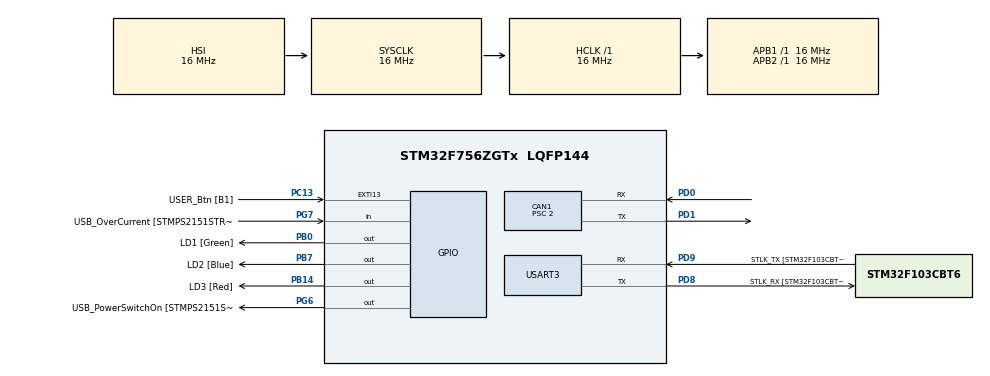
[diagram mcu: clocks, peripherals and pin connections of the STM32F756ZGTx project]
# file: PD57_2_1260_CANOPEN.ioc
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CAN1.BS1=CAN_BS1_6TQ
CAN1.CalculateBaudRate=1000000
CAN1.CalculateTimeBit=1000
CAN1.CalculateTimeQuantum=125.0
CAN1.Prescaler=2
CAN1.SJW=CAN_SJW_1TQ
Mcu.Family=STM32F7
Mcu.Name=STM32F756ZGTx
Mcu.Package=LQFP144
NVIC.EXTI15_10_IRQn=true\:0\:0\:false\:false\:true\:true\:true\:true
NVIC.PriorityGroup=NVIC_PRIORITYGROUP_4
NVIC.USART3_IRQn=true\:0\:0\:false\:false\:true\:true\:true\:true
PA1.GPIO_Label=RMII_REF_CLK [LAN8742A-CZ-TR_REFCLK0]
PA1.Signal=ETH_REF_CLK
PA10.GPIO_Label=USB_ID
PA10.Signal=USB_OTG_FS_ID
PA11.GPIO_Label=USB_DM
PA11.Signal=USB_OTG_FS_DM
PA12.GPIO_Label=USB_DP
PA12.Signal=USB_OTG_FS_DP
PA13.GPIO_Label=TMS
PA13.Mode=Serial_Wire
PA13.Signal=SYS_JTMS-SWDIO
PA14.GPIO_Label=TCK
PA14.Mode=Serial_Wire
PA14.Signal=SYS_JTCK-SWCLK
PA15.Signal=S_TIM2_CH1_ETR
PA2.GPIO_Speed=GPIO_SPEED_FREQ_HIGH
PA2.Signal=USART2_TX
PA7.GPIO_Label=RMII_CRS_DV [LAN8742A-CZ-TR_CRS_DV]
PA7.Signal=ETH_CRS_DV
PA8.GPIO_Label=USB_SOF [TP1]
PA8.Signal=USB_OTG_FS_SOF
PA9.GPIO_Label=USB_VBUS
PA9.Signal=USB_OTG_FS_VBUS
PB0.GPIO_Label=LD1 [Green]
PB0.Signal=GPIO_Output
PB13.GPIO_Label=RMII_TXD1 [LAN8742A-CZ-TR_TXD1]
PB13.Signal=ETH_TXD1
PB14.GPIO_Label=LD3 [Red]
PB14.Signal=GPIO_Output
PB3.GPIO_Label=SW0
PB3.Signal=SYS_JTDO-SWO
PB4.Signal=S_TIM3_CH1
PB7.GPIO_Label=LD2 [Blue]
PB7.Signal=GPIO_Output
PB8.Signal=I2C1_SCL
PB9.Signal=I2C1_SDA
PC1.GPIO_Label=RMII_MDC [LAN8742A-CZ-TR_MDC]
PC1.Signal=ETH_MDC
PC13.GPIO_Label=USER_Btn [B1]
PC13.Signal=GPXTI13
PC14/OSC32_IN.Mode=LSE-External-Oscillator
PC14/OSC32_IN.Signal=RCC_OSC32_IN
PC15/OSC32_OUT.Mode=LSE-External-Oscillator
PC15/OSC32_OUT.Signal=RCC_OSC32_OUT
PC4.GPIO_Label=RMII_RXD0 [LAN8742A-CZ-TR_RXD0]
PC4.Signal=ETH_RXD0
PC5.GPIO_Label=RMII_RXD1 [LAN8742A-CZ-TR_RXD1]
PC5.Signal=ETH_RXD1
PC9.Signal=S_TIM3_CH4
PD0.Mode=CAN_Activate
PD0.Signal=CAN1_RX
PD1.Mode=CAN_Activate
PD1.Signal=CAN1_TX
PD8.GPIO_Label=STLK_RX [STM32F103CBT6_PA3]
PD8.Mode=Asynchronous
PD8.Signal=USART3_TX
PD9.GPIO_Label=STLK_TX [STM32F103CBT6_PA2]
PD9.Mode=Asynchronous
PD9.Signal=USART3_RX
PG11.GPIO_Label=RMII_TX_EN [LAN8742A-CZ-TR_TXEN]
PG11.Signal=ETH_TX_EN
PG13.GPIO_Label=RMII_TXD0 [LAN8742A-CZ-TR_TXD0]
PG13.Signal=ETH_TXD0
PG6.GPIO_Label=USB_PowerSwitchOn [STMPS2151STR_EN]
PG6.Signal=GPIO_Output
PG7.GPIO_Label=USB_OverCurrent [STMPS2151STR_FAULT]
PG7.Signal=GPIO_Input
PH0/OSC_IN.GPIO_Label=MCO [STM32F103CBT6_PA8]
PH0/OSC_IN.Mode=HSE-External-Clock-Source
PH0/OSC_IN.Signal=RCC_OSC_IN
PH1/OSC_OUT.Mode=HSE-External-Clock-Source
PH1/OSC_OUT.Signal=RCC_OSC_OUT
ProjectManager.HeapSize=0x200
ProjectManager.StackSize=0x400
ProjectManager.TargetToolchain=STM32CubeIDE
RCC.48MHZClocksFreq_Value=24000000
RCC.AHBFreq_Value=16000000
RCC.APB1Freq_Value=16000000
RCC.APB1TimFreq_Value=16000000
RCC.APB2Freq_Value=16000000
RCC.APB2TimFreq_Value=16000000
RCC.CortexFreq_Value=16000000
RCC.HCLKFreq_Value=16000000
RCC.HSE_VALUE=8000000
RCC.HSI_VALUE=16000000
RCC.PLLM=4
RCC.PLLMUL=RCC_PLL_MUL9
RCC.PLLN=72
RCC.PLLQ=3
RCC.PLLSourceVirtual=RCC_PLLSOURCE_HSE
RCC.PRESCALERUSB=RCC_USBCLKSOURCE_PLL_DIV1_5
RCC.SYSCLKFreq_VALUE=16000000
RCC.SYSCLKSourceVirtual=RCC_SYSCLKSOURCE_PLLCLK
RCC.USBFreq_Value=48000000
RCC.VCOOutputFreq_Value=144000000
SH.S_TIM2_CH1_ETR.0=TIM2_CH1
SH.S_TIM3_CH1.0=TIM3_CH1
SH.S_TIM3_CH4.0=TIM3_CH4
USART3.VirtualMode-Asynchronous=VM_ASYNC
board=NUCLEO-F756ZG

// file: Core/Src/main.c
/* USER CODE BEGIN Header */
/**
  ******************************************************************************
  * @file           : main.c
  * @brief          : Main program body
  ******************************************************************************
  * @attention
  *
  * Copyright (c) 2025 STMicroelectronics.
  * All rights reserved.
  *
  * This software is licensed under terms that can be found in the LICENSE file
  * in the root directory of this software component.
  * If no LICENSE file comes with this software, it is provided AS-IS.
  *
  ******************************************************************************
  */
/* USER CODE END Header */
#include "main.h"

/* USER CODE BEGIN Includes */

#include <stdio.h>
#include <string.h>
#include <stdlib.h>
#include <stdbool.h>

/* USER CODE END Includes */

/* USER CODE BEGIN PD */

#define CANOPEN_NODE_ID 0x01
#define STEPS_PER_REV 6400  // 200 steps/rev * 64 microsteps // 200 steps * 32 microsteps
#define TARGET_REV 10
#define TARGET_POSITION (TARGET_REV * STEPS_PER_REV)  // 128000 steps
#define N_TARGET_POSITION -1*(TARGET_REV * STEPS_PER_REV)  // 128000 steps

#define OD_CONTROLWORD 0x6040
#define OD_STATUSWORD 0x6041
#define OD_MODE_OPERATION 0x6060
#define OD_TARGET_POSITION 0x607A
#define OD_PROFILE_VELOCITY 0x6081
#define OD_PROFILE_ACCEL 0x6083
#define OD_PROFILE_DECEL 0x6084
#define OD_LIMIT_SWITCHES 0x2005
#define OD_ACTUAL_POSITION 0x6064
#define OD_HOMING_METHOD 0x6098
#define OD_ERROR_REGISTER 0x1001  // Standard CANopen error register

#define COB_ID_NMT 0x000
#define SDO_CLIENT_TX (0x600 + CANOPEN_NODE_ID)
#define SDO_SERVER_RX (0x580 + CANOPEN_NODE_ID)

// 6.2 How to move a Motor in pp Mode

/* USER CODE END PD */

CAN_HandleTypeDef hcan1;

UART_HandleTypeDef huart3;

/* USER CODE BEGIN PV */

uint8_t rx_buffer[32]; // Buffer to store incoming data
uint8_t rx_index = 0;
int user_input = 0;    // Variable to store the parsed integer
volatile uint8_t rx_complete = 0;

uint32_t duty_cycle = 0; // Example: 50% duty cycle
// Since ARR = 99, the CCR value ranges from 0 to 99 to represent 0% to 100% duty cycle.
// Since ARR = 49, the CCR value ranges from 0 to 49 to represent 0% to 100% duty cycle.

uint32_t SPEED = 50000; //  The motor’s datasheet specifies a maximum velocity (e.g., 50000 inc/s for 200 steps/rev with 64 microsteps).

//#define REVOLUTIONS 20 // Change this for fixed revolutions (e.g., 3, 7)
//#define TARGET_POSITION (REVOLUTIONS * STEPS_PER_REV) // Override motor_control.h
// redefine TARGET_POSITION in main.c to override the one in motor_control.h.
// This avoids the initializer element is not constant error since macros are evaluated at compile time.

/* USER CODE END PV */

void SystemClock_Config(void);
static void MX_GPIO_Init(void);
static void MX_USART3_UART_Init(void);
static void MX_CAN1_Init(void);
/* USER CODE BEGIN PFP */

HAL_StatusTypeDef CANopen_SendFrame(CAN_HandleTypeDef *hcan, uint32_t id, uint8_t *data, uint8_t len);
void CANopen_NMT_Start(uint8_t nodeId);
HAL_StatusTypeDef CANopen_SDO_Write8(CAN_HandleTypeDef *hcan, uint16_t index, uint8_t subidx, int8_t value);
HAL_StatusTypeDef CANopen_SDO_Write16(CAN_HandleTypeDef *hcan, uint16_t index, uint8_t subidx, uint16_t value);
HAL_StatusTypeDef CANopen_SDO_Write32(CAN_HandleTypeDef *hcan, uint16_t index, uint8_t subidx, uint32_t value);
uint16_t CANopen_SDO_Read16(CAN_HandleTypeDef *hcan, uint16_t index, uint8_t subidx);
uint32_t CANopen_SDO_Read32(CAN_HandleTypeDef *hcan, uint16_t index, uint8_t subidx);
void Delay_ms(uint32_t ms);
void Debug_Print(const char *msg);

/* USER CODE END PFP */

int main(void)
{

  /* MCU Configuration--------------------------------------------------------*/

  /* Reset of all peripherals, Initializes the Flash interface and the Systick. */
  HAL_Init();

  /* Configure the system clock */
  SystemClock_Config();

  /* Initialize all configured peripherals */
  MX_GPIO_Init();
  MX_USART3_UART_Init();
  MX_CAN1_Init();
  /* USER CODE BEGIN 2 */

  // Start UART receive interrupt
  HAL_UART_Receive_IT(&huart3, rx_buffer, 1);
  // Prompt user for input
  char prompt[] = "Enter an integer: \r\n";

  HAL_UART_Transmit(&huart3, (uint8_t*)prompt, strlen(prompt), HAL_MAX_DELAY);

  // motor control

/*
  // Full reset sequence with retries
  Debug_Print("Performing Full Motor Reset\r\n");
  uint8_t nmt_data[2];
  for (int i = 0; i < 3; i++) { // Retry reset 3 times
    nmt_data[0] = 0x82; nmt_data[1] = CANOPEN_NODE_ID;  // NMT Reset All
    if (CANopen_SendFrame(&hcan1, COB_ID_NMT, nmt_data, 2) != HAL_OK) {
      Debug_Print("NMT Reset Send Failed\r\n");
    }
    Delay_ms(1000);
    nmt_data[0] = 0x80; nmt_data[1] = CANOPEN_NODE_ID;  // NMT Pre-Operational
    if (CANopen_SendFrame(&hcan1, COB_ID_NMT, nmt_data, 2) != HAL_OK) {
      Debug_Print("NMT Pre-Op Send Failed\r\n");
    }
    Delay_ms(1000);
  }
  if (CANopen_SDO_Write16(&hcan1, OD_CONTROLWORD, 0x00, 0x0080) != HAL_OK) {
    Debug_Print("SDO Fault Reset Failed\r\n");
  }
  Delay_ms(1000);
*/

  // Start CAN with error reporting
  Debug_Print("Starting CAN\r\n");
  HAL_StatusTypeDef can_status = HAL_CAN_Start(&hcan1);
  if (can_status != HAL_OK) {
    char buf[48];
    snprintf(buf, sizeof(buf), "CAN Start Failed: Error Code 0x%08lX\r\n", HAL_CAN_GetError(&hcan1));
    Debug_Print(buf);
    Error_Handler();
  }
  Delay_ms(1000);

  Debug_Print("Starting CANopen Motor Control\r\n");

  // CAN filter: Accept all IDs
  CAN_FilterTypeDef sFilterConfig;
  sFilterConfig.FilterBank = 0;
  sFilterConfig.FilterMode = CAN_FILTERMODE_IDMASK;
  sFilterConfig.FilterScale = CAN_FILTERSCALE_32BIT;
  sFilterConfig.FilterIdHigh = 0x0000;
  sFilterConfig.FilterIdLow = 0x0000;
  sFilterConfig.FilterMaskIdHigh = 0x0000;
  sFilterConfig.FilterMaskIdLow = 0x0000;
  sFilterConfig.FilterFIFOAssignment = CAN_RX_FIFO0;
  sFilterConfig.FilterActivation = ENABLE;
  if (HAL_CAN_ConfigFilter(&hcan1, &sFilterConfig) != HAL_OK) {
    Debug_Print("CAN Filter Config Failed\r\n");
    Error_Handler();
  }
  Delay_ms(1000);

      // Start NMT
        Debug_Print("Sending NMT Start\r\n");
        CANopen_NMT_Start(CANOPEN_NODE_ID);
        Delay_ms(1000);

        // Check statusword
        uint16_t status = CANopen_SDO_Read16(&hcan1, OD_STATUSWORD, 0x00);
        char buf[48];
        snprintf(buf, sizeof(buf), "Initial Statusword: 0x%04X\r\n", status);
        Debug_Print(buf);
        if (status == 0xFFFF) {
          Debug_Print("SDO Read Failed: No response\r\n");
          Error_Handler();
        }
        Delay_ms(200);

        // Check and clear fault
/*          if (status & 0x08) {
            uint32_t error_code = CANopen_SDO_Read32(&hcan1, OD_ERROR_CODE, 0x00);
            snprintf(buf, sizeof(buf), "Fault Code: 0x%08lX\r\n", error_code);
            Debug_Print(buf);
            CANopen_SDO_Write16(&hcan1, OD_CONTROLWORD, 0x00, 0x0080);  // Reset Fault
            Delay_ms(200);
            status = CANopen_SDO_Read16(&hcan1, OD_STATUSWORD, 0x00);
            snprintf(buf, sizeof(buf), "Status after reset: 0x%04X\r\n", status);
            Debug_Print(buf);
            if (status & 0x08) {
              Debug_Print("Fault persists\r\n");
              Error_Handler();
            }
          }
*/

          // Reset state machine
            if (CANopen_SDO_Write16(&hcan1, OD_CONTROLWORD, 0x00, 0x0000) != HAL_OK) {  // Disable Voltage
              Debug_Print("Disable Voltage Failed\r\n");
              Error_Handler();
            }
            Delay_ms(200);
            status = CANopen_SDO_Read16(&hcan1, OD_STATUSWORD, 0x00);
            snprintf(buf, sizeof(buf), "Status after Disable: 0x%04X\r\n", status);
            Debug_Print(buf);

/*
            // Check current position
              int32_t current_pos = (int32_t)CANopen_SDO_Read32(&hcan1, OD_ACTUAL_POSITION, 0x00);
              snprintf(buf, sizeof(buf), "Current Position: %ld steps\r\n", current_pos);
              Debug_Print(buf);
              if (current_pos == 0xFFFFFFFF) {
                Debug_Print("Read Position Failed\r\n");
                Error_Handler();
              }
*/

              // Homing: Set method 35 and execute
/*
            Debug_Print("Starting Homing\r\n");
            if (CANopen_SDO_Write8(&hcan1, OD_HOMING_METHOD, 0x00, 35) != HAL_OK) {  // Method 35: Current position = 0
              Debug_Print("Set Homing Method Failed\r\n");
              Error_Handler();
            }

                Delay_ms(50);
                if (CANopen_SDO_Write8(&hcan1, OD_MODE_OPERATION, 0x00, 0x06) != HAL_OK) {  // Homing mode
                  Debug_Print("Set Homing Mode Failed\r\n");
                  Error_Handler();
                }

                Delay_ms(100);
                if (CANopen_SDO_Write16(&hcan1, OD_CONTROLWORD, 0x00, 0x0006) != HAL_OK) {  // Switch On
                  Debug_Print("Homing Switch On Failed\r\n");
                  Error_Handler();
                }
                Delay_ms(100);
                status = CANopen_SDO_Read16(&hcan1, OD_STATUSWORD, 0x00);
                snprintf(buf, sizeof(buf), "Homing Status after Switch On: 0x%04X\r\n", status);
                Debug_Print(buf);

                if (CANopen_SDO_Write16(&hcan1, OD_CONTROLWORD, 0x00, 0x0007) != HAL_OK) {  // Switched On
                  Debug_Print("Homing Switched On Failed\r\n");
                  Error_Handler();
                }
                Delay_ms(100);
                status = CANopen_SDO_Read16(&hcan1, OD_STATUSWORD, 0x00);
                snprintf(buf, sizeof(buf), "Homing Status after Switched On: 0x%04X\r\n", status);
                Debug_Print(buf);

                if (CANopen_SDO_Write16(&hcan1, OD_CONTROLWORD, 0x00, 0x000F) != HAL_OK) {  // Enable Operation
                  Debug_Print("Enable Homing Failed\r\n");
                  Error_Handler();
                }
                Delay_ms(100);
                status = CANopen_SDO_Read16(&hcan1, OD_STATUSWORD, 0x00);
                snprintf(buf, sizeof(buf), "Homing Status after Enable Op: 0x%04X\r\n", status);
                Debug_Print(buf);

                if (CANopen_SDO_Write16(&hcan1, OD_CONTROLWORD, 0x00, 0x001F) != HAL_OK) {  //start homing process
                Debug_Print("Start Homing Failed\r\n");
                Error_Handler();
                }
                Delay_ms(500);

                if (CANopen_SDO_Write16(&hcan1, OD_CONTROLWORD, 0x00, 0x000F) != HAL_OK) {  //finish homing
                  Debug_Print("Start Homing Failed\r\n");
                  Error_Handler();
                }
                Delay_ms(100);
*/

            // microstep resolution 200 full steps x microsteps; microsteps = (2^x) x = 0 .... 8;
            if (CANopen_SDO_Write8(&hcan1, 0x2000, 0x00, 0x05) != HAL_OK) {  // 2^5 = 32 microsteps in 1 full step;
              Debug_Print("Set Velocity Failed\r\n");
              Error_Handler();
            }

                      // Configure velocity and acceleration
                        if (CANopen_SDO_Write32(&hcan1, OD_PROFILE_VELOCITY, 0x00, 100000) != HAL_OK) {  // 5000 inc/s
                          Debug_Print("Set Velocity Failed\r\n");
                          Error_Handler();
                        }
                        if (CANopen_SDO_Write32(&hcan1, OD_PROFILE_ACCEL, 0x00, 1500) != HAL_OK) {
                          Debug_Print("Set Acceleration Failed\r\n");
                          Error_Handler();
                        }
                        if (CANopen_SDO_Write32(&hcan1, OD_PROFILE_DECEL, 0x00, 1500) != HAL_OK) {
                          Debug_Print("Set Deceleration Failed\r\n");
                          Error_Handler();
                        }
                        Delay_ms(50);

                        status = CANopen_SDO_Read16(&hcan1, 0x2707, 0x00);
                        snprintf(buf, sizeof(buf), "CAN bit rate: 0x%04X\r\n", status);
                        Debug_Print(buf);
                        Delay_ms(50);
                        status = CANopen_SDO_Read16(&hcan1, 0x2708, 0x00);
                        snprintf(buf, sizeof(buf), "node ID: 0x%04X\r\n", status);
                        Debug_Print(buf);
                        Delay_ms(50);

                         // CiA 402 state machine

                        // homing start
                        Debug_Print("Starting CiA 402 Transition\r\n");
                        if (CANopen_SDO_Write8(&hcan1, OD_MODE_OPERATION, 0x00, 0x06) != HAL_OK) { // homing mode
                        Debug_Print("Switch On Failed\r\n");
                        Error_Handler();
                        }
                        Delay_ms(100);

                        if (CANopen_SDO_Write16(&hcan1, OD_CONTROLWORD, 0x00, 0x0006) != HAL_OK) {
                          Debug_Print("Switch On Failed\r\n");
                          Error_Handler();
                        }
                        Delay_ms(500);

                        if (CANopen_SDO_Write16(&hcan1, OD_CONTROLWORD, 0x00, 0x0007) != HAL_OK) {
                          Debug_Print("Switch On Failed\r\n");
                          Error_Handler();
                        }
                        Delay_ms(500);

                        if (CANopen_SDO_Write16(&hcan1, OD_CONTROLWORD, 0x00, 0x000F) != HAL_OK) {
                          Debug_Print("Switch On Failed\r\n");
                          Error_Handler();
                        }
                        Delay_ms(500);

                        // homing to zero test
                        Debug_Print("Starting Homing\r\n");
                        if (CANopen_SDO_Write8(&hcan1, OD_HOMING_METHOD, 0x00, 0x23) != HAL_OK) {  // Method 35: Current position = 0
                          Debug_Print("Set Homing Method Failed\r\n");
                          Error_Handler();
                        }
                        Delay_ms(100);

                        if (CANopen_SDO_Write16(&hcan1, OD_CONTROLWORD, 0x00, 0x001F) != HAL_OK) {
                          Debug_Print("Switch On Failed\r\n");
                          Error_Handler();
                        }
                        Delay_ms(500);

                        if (CANopen_SDO_Write16(&hcan1, OD_CONTROLWORD, 0x00, 0x000F) != HAL_OK) {
                          Debug_Print("Switch On Failed\r\n");
                          Error_Handler();
                        }
                        Delay_ms(500);

                          // Verify position
                        int32_t current_pos = (int32_t)CANopen_SDO_Read32(&hcan1, OD_ACTUAL_POSITION, 0x00);
                          snprintf(buf, sizeof(buf), "Position after homing: %ld steps\r\n", current_pos);
                          Debug_Print(buf);
                          if (current_pos == 0xFFFFFFFF) {
                            Debug_Print("Read Position Failed\r\n");
                            Error_Handler();
                          }
                          if (current_pos != 0) {
                            Debug_Print("Homing Failed: Position not zero\r\n");
                            // Proceed anyway, as motion works
                              } else {
                                Debug_Print("Homing Successful\r\n");
                              }
                              status = CANopen_SDO_Read16(&hcan1, OD_STATUSWORD, 0x00);
                              snprintf(buf, sizeof(buf), "Final Homing Statusword: 0x%04X\r\n", status);
                              Debug_Print(buf);

                        // homing end

                              // Reset state machine
                                if (CANopen_SDO_Write16(&hcan1, OD_CONTROLWORD, 0x00, 0x0000) != HAL_OK) {  // Disable Voltage
                                	// 6.1 Detailed Object Specifications & 7.1.1 Object 6040h: Control Word
                                	// transition is from previous value 15 (1111) to 0000, so does not know if its correct sequence;
                                  Debug_Print("Disable Voltage Failed\r\n");
                                  Error_Handler();
                                }
                                Delay_ms(1000);
                                status = CANopen_SDO_Read16(&hcan1, OD_STATUSWORD, 0x00);
                                snprintf(buf, sizeof(buf), "Status after Disable: 0x%04X\r\n", status);
                                Debug_Print(buf);

// 6.1 Detailed Object Specifications
// 7.1.1 Object 6040h: Control Word
// 6.2 How to move a Motor in pp Mode
// 8.3 How to start a Homing in hm Mode

                         // drive start

                        // Disable limit switches
                        if (CANopen_SDO_Write32(&hcan1, OD_LIMIT_SWITCHES, 0x00, 0x00000003) != HAL_OK) {
                          Debug_Print("Set Limit Switches Failed\r\n");
                          Error_Handler();
                        }
                        Delay_ms(100);

                           Debug_Print("Starting CiA 402 Transition\r\n");
                           if (CANopen_SDO_Write8(&hcan1, OD_MODE_OPERATION, 0x00, 0x01) != HAL_OK) {
                           Debug_Print("Switch On Failed\r\n");
                           Error_Handler();
                           }
                           Delay_ms(100);

                           if (CANopen_SDO_Write16(&hcan1, OD_CONTROLWORD, 0x00, 0x0006) != HAL_OK) {
                             Debug_Print("Switch On Failed\r\n");
                             Error_Handler();
                           }
                           Delay_ms(1000);
                           status = CANopen_SDO_Read16(&hcan1, OD_STATUSWORD, 0x00);
                           snprintf(buf, sizeof(buf), "Status after Switch On: 0x%04X\r\n", status);
                           Debug_Print(buf);

                           if (CANopen_SDO_Write16(&hcan1, OD_CONTROLWORD, 0x00, 0x0007) != HAL_OK) {
                             Debug_Print("Switched On Failed\r\n");
                             Error_Handler();
                           }
                           Delay_ms(1000);
                           status = CANopen_SDO_Read16(&hcan1, OD_STATUSWORD, 0x00);
                           snprintf(buf, sizeof(buf), "Status after Switched On: 0x%04X\r\n", status);
                           Debug_Print(buf);

                           if (CANopen_SDO_Write16(&hcan1, OD_CONTROLWORD, 0x00, 0x000F) != HAL_OK) {
                             Debug_Print("Enable Operation Failed\r\n");
                             Error_Handler();
                           }
                           Delay_ms(1000);

                           // Set target position
                           if (CANopen_SDO_Write32(&hcan1, OD_TARGET_POSITION, 0x00, TARGET_POSITION) != HAL_OK) {
                             Debug_Print("Set Position Failed\r\n");
                             Error_Handler();
                           }

                           Delay_ms(100);
                           status = CANopen_SDO_Read16(&hcan1, OD_STATUSWORD, 0x00);
                           snprintf(buf, sizeof(buf), "Status after Enable Op: 0x%04X\r\n", status);
                           Debug_Print(buf);

/*
                           if (CANopen_SDO_Write16(&hcan1, OD_CONTROLWORD, 0x00, 0x001F) != HAL_OK) { // 0101 1111 = 5F (6 bits 1 sets relative); 0001 1111 1F is absolute with 6 bit 0;
                             Debug_Print("Mark the new target position as active Failed\r\n");
                             Error_Handler();
                           }
                           Delay_ms(100);
                           Debug_Print("Mark the new target position as active Sent\r\n");
*/

                           if (CANopen_SDO_Write16(&hcan1, OD_CONTROLWORD, 0x00, 0x005F) != HAL_OK) { // 0101 1111 = 5F (6 bits 1 sets relative); 0001 1111 1F is absolute with 6 bit 0;
                        	   // with relative its easier to control direction, line 500k steps in one direction than 100k steps back;
                             Debug_Print("Mark the new target position as active Failed\r\n");
                             Error_Handler();
                           }
                           Delay_ms(100);
                           Debug_Print("Mark the new target position as active Sent\r\n");

                           if (CANopen_SDO_Write16(&hcan1, OD_CONTROLWORD, 0x00, 0x000F) != HAL_OK) {
                              Debug_Print("Reset the activationn Failed\r\n");
                              Error_Handler();
                           }
                           Delay_ms(100);

                           // Poll statusword for target reached
                             do {
                               status = CANopen_SDO_Read16(&hcan1, OD_STATUSWORD, 0x00);
                               snprintf(buf, sizeof(buf), "Statusword: 0x%04X\r\n", status);
                               Debug_Print(buf);
                               if (status == 0xFFFF) {
                                 Debug_Print("SDO Read Failed\r\n");
                                 Error_Handler();
                               }
                               current_pos = (int32_t)CANopen_SDO_Read32(&hcan1, OD_ACTUAL_POSITION, 0x00);
                               snprintf(buf, sizeof(buf), "Current Position: %ld steps\r\n", current_pos);
                               Debug_Print(buf);
                               Delay_ms(100);
                             } while (!(status & 0x0400));  // Bit 10: Target reached (0x6041 register)

                             // drive end

                             // Stop
                             if (CANopen_SDO_Write16(&hcan1, OD_CONTROLWORD, 0x00, 0x0002) != HAL_OK) {  // Quick Stop
                               Debug_Print("Quick Stop Failed\r\n");
                             }
                             Delay_ms(1000);
                             if (CANopen_SDO_Write16(&hcan1, OD_CONTROLWORD, 0x00, 0x0000) != HAL_OK) {  // Disable Voltage
                               Debug_Print("Disable Voltage Failed\r\n");
                             }
                             Debug_Print("Motion Complete\r\n");
                             Delay_ms(1000);

                             // Reset for next motion
                             if (CANopen_SDO_Write16(&hcan1, OD_CONTROLWORD, 0x00, 0x0006) != HAL_OK) {
                               Debug_Print("reset for next motion Failed\r\n");
                             }
                             Debug_Print("Motion Complete\r\n");
                             Delay_ms(1000);

                             // reverse drive start

                             if (CANopen_SDO_Write16(&hcan1, OD_CONTROLWORD, 0x00, 0x0006) != HAL_OK) {
                               Debug_Print("Switch On Failed\r\n");
                               Error_Handler();
                             }
                             Delay_ms(1000);
                             status = CANopen_SDO_Read16(&hcan1, OD_STATUSWORD, 0x00);
                             snprintf(buf, sizeof(buf), "Status after Switch On: 0x%04X\r\n", status);
                             Debug_Print(buf);

                             if (CANopen_SDO_Write16(&hcan1, OD_CONTROLWORD, 0x00, 0x0007) != HAL_OK) {
                               Debug_Print("Switched On Failed\r\n");
                               Error_Handler();
                             }
                             Delay_ms(1000);
                             status = CANopen_SDO_Read16(&hcan1, OD_STATUSWORD, 0x00);
                             snprintf(buf, sizeof(buf), "Status after Switched On: 0x%04X\r\n", status);
                             Debug_Print(buf);

                             if (CANopen_SDO_Write16(&hcan1, OD_CONTROLWORD, 0x00, 0x000F) != HAL_OK) {
                               Debug_Print("Enable Operation Failed\r\n");
                               Error_Handler();
                             }
                             Delay_ms(1000);

                             // Set target position
                             if (CANopen_SDO_Write32(&hcan1, OD_TARGET_POSITION, 0x00, N_TARGET_POSITION) != HAL_OK) {
                               Debug_Print("Set Position Failed\r\n");
                               Error_Handler();
                             }

                             Delay_ms(100);
                             status = CANopen_SDO_Read16(&hcan1, OD_STATUSWORD, 0x00);
                             snprintf(buf, sizeof(buf), "Status after Enable Op: 0x%04X\r\n", status);
                             Debug_Print(buf);

  /*
                             if (CANopen_SDO_Write16(&hcan1, OD_CONTROLWORD, 0x00, 0x001F) != HAL_OK) { // 0101 1111 = 5F (6 bits 1 sets relative); 0001 1111 1F is absolute with 6 bit 0;
                               Debug_Print("Mark the new target position as active Failed\r\n");
                               Error_Handler();
                             }
                             Delay_ms(100);
                             Debug_Print("Mark the new target position as active Sent\r\n");
  */

                             if (CANopen_SDO_Write16(&hcan1, OD_CONTROLWORD, 0x00, 0x005F) != HAL_OK) { // 0101 1111 = 5F (6 bits 1 sets relative); 0001 1111 1F is absolute with 6 bit 0;
                          	   // with relative its easier to control direction, line 500k steps in one direction than 100k steps back;
                               Debug_Print("Mark the new target position as active Failed\r\n");
                               Error_Handler();
                             }
                             Delay_ms(100);
                             Debug_Print("Mark the new target position as active Sent\r\n");

                             if (CANopen_SDO_Write16(&hcan1, OD_CONTROLWORD, 0x00, 0x000F) != HAL_OK) {
                                Debug_Print("Reset the activationn Failed\r\n");
                                Error_Handler();
                             }
                             Delay_ms(100);

                             // Poll statusword for target reached
                               do {
                                 status = CANopen_SDO_Read16(&hcan1, OD_STATUSWORD, 0x00);
                                 snprintf(buf, sizeof(buf), "Statusword: 0x%04X\r\n", status);
                                 Debug_Print(buf);
                                 if (status == 0xFFFF) {
                                   Debug_Print("SDO Read Failed\r\n");
                                   Error_Handler();
                                 }
                                 current_pos = (int32_t)CANopen_SDO_Read32(&hcan1, OD_ACTUAL_POSITION, 0x00);
                                 snprintf(buf, sizeof(buf), "Current Position: %ld steps\r\n", current_pos);
                                 Debug_Print(buf);
                                 Delay_ms(100);
                               } while (!(status & 0x0400));  // Bit 10: Target reached

                               // reverse drive end

                               // Stop
                               if (CANopen_SDO_Write16(&hcan1, OD_CONTROLWORD, 0x00, 0x0002) != HAL_OK) {  // Quick Stop
                                 Debug_Print("Quick Stop Failed\r\n");
                               }
                               Delay_ms(1000);
                               if (CANopen_SDO_Write16(&hcan1, OD_CONTROLWORD, 0x00, 0x0000) != HAL_OK) {  // Disable Voltage
                                 Debug_Print("Disable Voltage Failed\r\n");
                               }
                               Debug_Print("Motion Complete\r\n");
                               Delay_ms(1000);

                               // Reset for next motion
                               if (CANopen_SDO_Write16(&hcan1, OD_CONTROLWORD, 0x00, 0x0006) != HAL_OK) {
                                 Debug_Print("reset for next motion Failed\r\n");
                               }
                               Debug_Print("Motion Complete\r\n");
                               Delay_ms(1000);

  /* USER CODE END 2 */

  /* Infinite loop */
  /* USER CODE BEGIN WHILE */
  while (1)
  {

	  /*
	      if (rx_complete)
	          {
	              // Process received integer
	              char response[64];
	              snprintf(response, sizeof(response), "Received integer: %d\r\n", user_input);
	              HAL_UART_Transmit(&huart3, (uint8_t*)response, strlen(response), HAL_MAX_DELAY);
	              // Prompt again
	              HAL_UART_Transmit(&huart3, (uint8_t*)prompt, strlen(prompt), HAL_MAX_DELAY);
	              rx_complete = 0;
	              duty_cycle = user_input;

	          }

*/

    /* USER CODE END WHILE */

  }
}

void SystemClock_Config(void)
{
  RCC_OscInitTypeDef RCC_OscInitStruct = {0};
  RCC_ClkInitTypeDef RCC_ClkInitStruct = {0};

  /** Configure LSE Drive Capability
  */
  HAL_PWR_EnableBkUpAccess();

  /** Configure the main internal regulator output voltage
  */
  __HAL_RCC_PWR_CLK_ENABLE();
  __HAL_PWR_VOLTAGESCALING_CONFIG(PWR_REGULATOR_VOLTAGE_SCALE3);

  /** Initializes the RCC Oscillators according to the specified parameters
  * in the RCC_OscInitTypeDef structure.
  */
  RCC_OscInitStruct.OscillatorType = RCC_OSCILLATORTYPE_HSI;
  RCC_OscInitStruct.HSIState = RCC_HSI_ON;
  RCC_OscInitStruct.HSICalibrationValue = RCC_HSICALIBRATION_DEFAULT;
  RCC_OscInitStruct.PLL.PLLState = RCC_PLL_NONE;
  if (HAL_RCC_OscConfig(&RCC_OscInitStruct) != HAL_OK)
  {
    Error_Handler();
  }

  /** Initializes the CPU, AHB and APB buses clocks
  */
  RCC_ClkInitStruct.ClockType = RCC_CLOCKTYPE_HCLK|RCC_CLOCKTYPE_SYSCLK
                              |RCC_CLOCKTYPE_PCLK1|RCC_CLOCKTYPE_PCLK2;
  RCC_ClkInitStruct.SYSCLKSource = RCC_SYSCLKSOURCE_HSI;
  RCC_ClkInitStruct.AHBCLKDivider = RCC_SYSCLK_DIV1;
  RCC_ClkInitStruct.APB1CLKDivider = RCC_HCLK_DIV1;
  RCC_ClkInitStruct.APB2CLKDivider = RCC_HCLK_DIV1;

  if (HAL_RCC_ClockConfig(&RCC_ClkInitStruct, FLASH_LATENCY_0) != HAL_OK)
  {
    Error_Handler();
  }
}

static void MX_CAN1_Init(void)
{

  hcan1.Instance = CAN1;
  hcan1.Init.Prescaler = 2;
  hcan1.Init.Mode = CAN_MODE_NORMAL;
  hcan1.Init.SyncJumpWidth = CAN_SJW_1TQ;
  hcan1.Init.TimeSeg1 = CAN_BS1_6TQ;
  hcan1.Init.TimeSeg2 = CAN_BS2_1TQ;
  hcan1.Init.TimeTriggeredMode = DISABLE;
  hcan1.Init.AutoBusOff = DISABLE;
  hcan1.Init.AutoWakeUp = DISABLE;
  hcan1.Init.AutoRetransmission = DISABLE;
  hcan1.Init.ReceiveFifoLocked = DISABLE;
  hcan1.Init.TransmitFifoPriority = DISABLE;
  if (HAL_CAN_Init(&hcan1) != HAL_OK)
  {
    Error_Handler();
  }

}

static void MX_USART3_UART_Init(void)
{

  huart3.Instance = USART3;
  huart3.Init.BaudRate = 115200;
  huart3.Init.WordLength = UART_WORDLENGTH_8B;
  huart3.Init.StopBits = UART_STOPBITS_1;
  huart3.Init.Parity = UART_PARITY_NONE;
  huart3.Init.Mode = UART_MODE_TX_RX;
  huart3.Init.HwFlowCtl = UART_HWCONTROL_NONE;
  huart3.Init.OverSampling = UART_OVERSAMPLING_16;
  huart3.Init.OneBitSampling = UART_ONE_BIT_SAMPLE_DISABLE;
  huart3.AdvancedInit.AdvFeatureInit = UART_ADVFEATURE_NO_INIT;
  if (HAL_UART_Init(&huart3) != HAL_OK)
  {
    Error_Handler();
  }

}

static void MX_GPIO_Init(void)
{
  GPIO_InitTypeDef GPIO_InitStruct = {0};

  /* GPIO Ports Clock Enable */
  __HAL_RCC_GPIOC_CLK_ENABLE();
  __HAL_RCC_GPIOH_CLK_ENABLE();
  __HAL_RCC_GPIOA_CLK_ENABLE();
  __HAL_RCC_GPIOB_CLK_ENABLE();
  __HAL_RCC_GPIOD_CLK_ENABLE();
  __HAL_RCC_GPIOG_CLK_ENABLE();

  /*Configure GPIO pin Output Level */
  HAL_GPIO_WritePin(GPIOB, LD1_Pin|LD3_Pin|LD2_Pin, GPIO_PIN_RESET);

  /*Configure GPIO pin Output Level */
  HAL_GPIO_WritePin(USB_PowerSwitchOn_GPIO_Port, USB_PowerSwitchOn_Pin, GPIO_PIN_RESET);

  /*Configure GPIO pin : USER_Btn_Pin */
  GPIO_InitStruct.Pin = USER_Btn_Pin;
  GPIO_InitStruct.Mode = GPIO_MODE_IT_RISING;
  GPIO_InitStruct.Pull = GPIO_NOPULL;
  HAL_GPIO_Init(USER_Btn_GPIO_Port, &GPIO_InitStruct);

  /*Configure GPIO pins : RMII_MDC_Pin RMII_RXD0_Pin RMII_RXD1_Pin */
  GPIO_InitStruct.Pin = RMII_MDC_Pin|RMII_RXD0_Pin|RMII_RXD1_Pin;
  GPIO_InitStruct.Mode = GPIO_MODE_AF_PP;
  GPIO_InitStruct.Pull = GPIO_NOPULL;
  GPIO_InitStruct.Speed = GPIO_SPEED_FREQ_VERY_HIGH;
  GPIO_InitStruct.Alternate = GPIO_AF11_ETH;
  HAL_GPIO_Init(GPIOC, &GPIO_InitStruct);

  /*Configure GPIO pins : RMII_REF_CLK_Pin RMII_CRS_DV_Pin */
  GPIO_InitStruct.Pin = RMII_REF_CLK_Pin|RMII_CRS_DV_Pin;
  GPIO_InitStruct.Mode = GPIO_MODE_AF_PP;
  GPIO_InitStruct.Pull = GPIO_NOPULL;
  GPIO_InitStruct.Speed = GPIO_SPEED_FREQ_VERY_HIGH;
  GPIO_InitStruct.Alternate = GPIO_AF11_ETH;
  HAL_GPIO_Init(GPIOA, &GPIO_InitStruct);

  /*Configure GPIO pin : PA2 */
  GPIO_InitStruct.Pin = GPIO_PIN_2;
  GPIO_InitStruct.Mode = GPIO_MODE_AF_PP;
  GPIO_InitStruct.Pull = GPIO_NOPULL;
  GPIO_InitStruct.Speed = GPIO_SPEED_FREQ_HIGH;
  GPIO_InitStruct.Alternate = GPIO_AF7_USART2;
  HAL_GPIO_Init(GPIOA, &GPIO_InitStruct);

  /*Configure GPIO pins : LD1_Pin LD3_Pin LD2_Pin */
  GPIO_InitStruct.Pin = LD1_Pin|LD3_Pin|LD2_Pin;
  GPIO_InitStruct.Mode = GPIO_MODE_OUTPUT_PP;
  GPIO_InitStruct.Pull = GPIO_NOPULL;
  GPIO_InitStruct.Speed = GPIO_SPEED_FREQ_LOW;
  HAL_GPIO_Init(GPIOB, &GPIO_InitStruct);

  /*Configure GPIO pin : RMII_TXD1_Pin */
  GPIO_InitStruct.Pin = RMII_TXD1_Pin;
  GPIO_InitStruct.Mode = GPIO_MODE_AF_PP;
  GPIO_InitStruct.Pull = GPIO_NOPULL;
  GPIO_InitStruct.Speed = GPIO_SPEED_FREQ_VERY_HIGH;
  GPIO_InitStruct.Alternate = GPIO_AF11_ETH;
  HAL_GPIO_Init(RMII_TXD1_GPIO_Port, &GPIO_InitStruct);

  /*Configure GPIO pin : USB_PowerSwitchOn_Pin */
  GPIO_InitStruct.Pin = USB_PowerSwitchOn_Pin;
  GPIO_InitStruct.Mode = GPIO_MODE_OUTPUT_PP;
  GPIO_InitStruct.Pull = GPIO_NOPULL;
  GPIO_InitStruct.Speed = GPIO_SPEED_FREQ_LOW;
  HAL_GPIO_Init(USB_PowerSwitchOn_GPIO_Port, &GPIO_InitStruct);

  /*Configure GPIO pin : USB_OverCurrent_Pin */
  GPIO_InitStruct.Pin = USB_OverCurrent_Pin;
  GPIO_InitStruct.Mode = GPIO_MODE_INPUT;
  GPIO_InitStruct.Pull = GPIO_NOPULL;
  HAL_GPIO_Init(USB_OverCurrent_GPIO_Port, &GPIO_InitStruct);

  /*Configure GPIO pin : PC9 */
  GPIO_InitStruct.Pin = GPIO_PIN_9;
  GPIO_InitStruct.Mode = GPIO_MODE_AF_PP;
  GPIO_InitStruct.Pull = GPIO_NOPULL;
  GPIO_InitStruct.Speed = GPIO_SPEED_FREQ_LOW;
  GPIO_InitStruct.Alternate = GPIO_AF2_TIM3;
  HAL_GPIO_Init(GPIOC, &GPIO_InitStruct);

  /*Configure GPIO pins : USB_SOF_Pin USB_ID_Pin USB_DM_Pin USB_DP_Pin */
  GPIO_InitStruct.Pin = USB_SOF_Pin|USB_ID_Pin|USB_DM_Pin|USB_DP_Pin;
  GPIO_InitStruct.Mode = GPIO_MODE_AF_PP;
  GPIO_InitStruct.Pull = GPIO_NOPULL;
  GPIO_InitStruct.Speed = GPIO_SPEED_FREQ_VERY_HIGH;
  GPIO_InitStruct.Alternate = GPIO_AF10_OTG_FS;
  HAL_GPIO_Init(GPIOA, &GPIO_InitStruct);

  /*Configure GPIO pin : USB_VBUS_Pin */
  GPIO_InitStruct.Pin = USB_VBUS_Pin;
  GPIO_InitStruct.Mode = GPIO_MODE_INPUT;
  GPIO_InitStruct.Pull = GPIO_NOPULL;
  HAL_GPIO_Init(USB_VBUS_GPIO_Port, &GPIO_InitStruct);

  /*Configure GPIO pin : PA15 */
  GPIO_InitStruct.Pin = GPIO_PIN_15;
  GPIO_InitStruct.Mode = GPIO_MODE_AF_PP;
  GPIO_InitStruct.Pull = GPIO_NOPULL;
  GPIO_InitStruct.Speed = GPIO_SPEED_FREQ_LOW;
  GPIO_InitStruct.Alternate = GPIO_AF1_TIM2;
  HAL_GPIO_Init(GPIOA, &GPIO_InitStruct);

  /*Configure GPIO pins : RMII_TX_EN_Pin RMII_TXD0_Pin */
  GPIO_InitStruct.Pin = RMII_TX_EN_Pin|RMII_TXD0_Pin;
  GPIO_InitStruct.Mode = GPIO_MODE_AF_PP;
  GPIO_InitStruct.Pull = GPIO_NOPULL;
  GPIO_InitStruct.Speed = GPIO_SPEED_FREQ_VERY_HIGH;
  GPIO_InitStruct.Alternate = GPIO_AF11_ETH;
  HAL_GPIO_Init(GPIOG, &GPIO_InitStruct);

  /*Configure GPIO pin : PB4 */
  GPIO_InitStruct.Pin = GPIO_PIN_4;
  GPIO_InitStruct.Mode = GPIO_MODE_AF_PP;
  GPIO_InitStruct.Pull = GPIO_NOPULL;
  GPIO_InitStruct.Speed = GPIO_SPEED_FREQ_LOW;
  GPIO_InitStruct.Alternate = GPIO_AF2_TIM3;
  HAL_GPIO_Init(GPIOB, &GPIO_InitStruct);

  /*Configure GPIO pins : PB8 PB9 */
  GPIO_InitStruct.Pin = GPIO_PIN_8|GPIO_PIN_9;
  GPIO_InitStruct.Mode = GPIO_MODE_AF_OD;
  GPIO_InitStruct.Pull = GPIO_NOPULL;
  GPIO_InitStruct.Speed = GPIO_SPEED_FREQ_VERY_HIGH;
  GPIO_InitStruct.Alternate = GPIO_AF4_I2C1;
  HAL_GPIO_Init(GPIOB, &GPIO_InitStruct);

  /* EXTI interrupt init*/
  HAL_NVIC_SetPriority(EXTI15_10_IRQn, 0, 0);
  HAL_NVIC_EnableIRQ(EXTI15_10_IRQn);

}

/* USER CODE BEGIN 4 */

/* Function definitions (unchanged) */
HAL_StatusTypeDef CANopen_SendFrame(CAN_HandleTypeDef *hcan, uint32_t id, uint8_t *data, uint8_t len) {
  CAN_TxHeaderTypeDef TxHeader;
  uint32_t TxMailbox;
  TxHeader.StdId = id;
  TxHeader.ExtId = 0;
  TxHeader.IDE = CAN_ID_STD;
  TxHeader.RTR = CAN_RTR_DATA;
  TxHeader.DLC = len;

  HAL_StatusTypeDef ret = HAL_CAN_AddTxMessage(hcan, &TxHeader, data, &TxMailbox);
  if (ret != HAL_OK) {
    char buf[48];
    snprintf(buf, sizeof(buf), "CAN Tx Error: %lu\r\n", HAL_CAN_GetError(hcan));
    Debug_Print(buf);
    return ret;
  }

  uint32_t tickstart = HAL_GetTick();
  while (HAL_CAN_IsTxMessagePending(hcan, TxMailbox) && (HAL_GetTick() - tickstart < 100)) {}
  return HAL_OK;
}

void CANopen_NMT_Start(uint8_t nodeId) {
  uint8_t nmt[2] = {0x01, nodeId};
  CANopen_SendFrame(&hcan1, COB_ID_NMT, nmt, 2);
}

HAL_StatusTypeDef CANopen_SDO_Write8(CAN_HandleTypeDef *hcan, uint16_t index, uint8_t subidx, int8_t value) {
  uint8_t sdo[8] = {0x2F, (uint8_t)(index & 0xFF), (uint8_t)(index >> 8), subidx, (uint8_t)value, 0x00, 0x00, 0x00};
  return CANopen_SendFrame(hcan, SDO_CLIENT_TX, sdo, 8);
}

HAL_StatusTypeDef CANopen_SDO_Write16(CAN_HandleTypeDef *hcan, uint16_t index, uint8_t subidx, uint16_t value) {
  uint8_t sdo[8] = {0x2B, (uint8_t)(index & 0xFF), (uint8_t)(index >> 8), subidx,
                    (uint8_t)(value & 0xFF), (uint8_t)(value >> 8), 0x00, 0x00};
  return CANopen_SendFrame(hcan, SDO_CLIENT_TX, sdo, 8);
}

HAL_StatusTypeDef CANopen_SDO_Write32(CAN_HandleTypeDef *hcan, uint16_t index, uint8_t subidx, uint32_t value) {
  uint8_t sdo[8] = {0x23, (uint8_t)(index & 0xFF), (uint8_t)(index >> 8), subidx,
                    (uint8_t)(value & 0xFF), (uint8_t)((value >> 8) & 0xFF),
                    (uint8_t)((value >> 16) & 0xFF), (uint8_t)(value >> 24)};
  return CANopen_SendFrame(hcan, SDO_CLIENT_TX, sdo, 8);
}

uint16_t CANopen_SDO_Read16(CAN_HandleTypeDef *hcan, uint16_t index, uint8_t subidx) {
  uint8_t req[8] = {0x40, (uint8_t)(index & 0xFF), (uint8_t)(index >> 8), subidx, 0x00, 0x00, 0x00, 0x00};
  if (CANopen_SendFrame(hcan, SDO_CLIENT_TX, req, 8) != HAL_OK) {
    Debug_Print("SDO Read Send Failed\r\n");
    return 0xFFFF;
  }

  CAN_RxHeaderTypeDef RxHeader;
  uint8_t RxData[8];
  uint32_t tickstart = HAL_GetTick();
  while ((HAL_GetTick() - tickstart < 500)) {
    if (HAL_CAN_GetRxMessage(hcan, CAN_RX_FIFO0, &RxHeader, RxData) == HAL_OK) {
      if (RxHeader.StdId == SDO_SERVER_RX && RxData[0] == 0x4B) {
        return (RxData[4] | (RxData[5] << 8));
      }
    }
  }
  Debug_Print("SDO Read Timeout\r\n");
  return 0xFFFF;
}

uint32_t CANopen_SDO_Read32(CAN_HandleTypeDef *hcan, uint16_t index, uint8_t subidx) {
  uint8_t req[8] = {0x40, (uint8_t)(index & 0xFF), (uint8_t)(index >> 8), subidx, 0x00, 0x00, 0x00, 0x00};
  if (CANopen_SendFrame(hcan, SDO_CLIENT_TX, req, 8) != HAL_OK) {
    Debug_Print("SDO Read32 Send Failed\r\n");
    return 0xFFFFFFFF;
  }

  CAN_RxHeaderTypeDef RxHeader;
  uint8_t RxData[8];
  uint32_t tickstart = HAL_GetTick();
  while ((HAL_GetTick() - tickstart < 500)) {
    if (HAL_CAN_GetRxMessage(hcan, CAN_RX_FIFO0, &RxHeader, RxData) == HAL_OK) {
      if (RxHeader.StdId == SDO_SERVER_RX && RxData[0] == 0x43) {
        return (RxData[4] | (RxData[5] << 8) | (RxData[6] << 16) | (RxData[7] << 24));
      }
    }
  }
  Debug_Print("SDO Read32 Timeout\r\n");
  return 0xFFFFFFFF;
}

void Delay_ms(uint32_t ms) {
  HAL_Delay(ms);
}

void Debug_Print(const char *msg) {
  HAL_UART_Transmit(&huart3, (uint8_t *)msg, strlen(msg), 100);
}

void HAL_GPIO_EXTI_Callback(uint16_t GPIO_Pin)
{
	switch(GPIO_Pin)
	{
	case GPIO_PIN_13: // u cant make EXTI same pin on  other port so no need for port specification
		//HAL_GPIO_WritePin(GPIOB, GPIO_PIN_0 | GPIO_PIN_7 | GPIO_PIN_14, GPIO_PIN_SET); // on
		HAL_GPIO_TogglePin(GPIOB, GPIO_PIN_0 | GPIO_PIN_7 | GPIO_PIN_14);
		break;
	default:
		break;
	}
}

void HAL_UART_RxCpltCallback(UART_HandleTypeDef *huart)
{
    if (huart->Instance == USART3)
    {
        if (rx_buffer[rx_index] == '\r' || rx_buffer[rx_index] == '\n')
        {
            rx_buffer[rx_index] = '\0'; // Null-terminate
            // Parse the received string to an integer
            user_input = atoi((char*)rx_buffer);
            rx_complete = 1;
            rx_index = 0;
            memset(rx_buffer, 0, sizeof(rx_buffer));
        }
        else
        {
            rx_index++;
            if (rx_index >= sizeof(rx_buffer)) rx_index = 0; // Prevent overflow
        }
        // Restart interrupt for next byte
        HAL_UART_Receive_IT(&huart3, rx_buffer + rx_index, 1);
    }
}
/* USER CODE END 4 */

void Error_Handler(void)
{
  /* USER CODE BEGIN Error_Handler_Debug */
  /* User can add his own implementation to report the HAL error return state */
  __disable_irq();
  while (1)
  {
	  HAL_GPIO_TogglePin(GPIOB, GPIO_PIN_0 | GPIO_PIN_7 | GPIO_PIN_14);
	  HAL_Delay(500);
	  HAL_GPIO_TogglePin(GPIOB, GPIO_PIN_0 | GPIO_PIN_7 | GPIO_PIN_14);
	  HAL_Delay(500);
  }
  /* USER CODE END Error_Handler_Debug */
}
